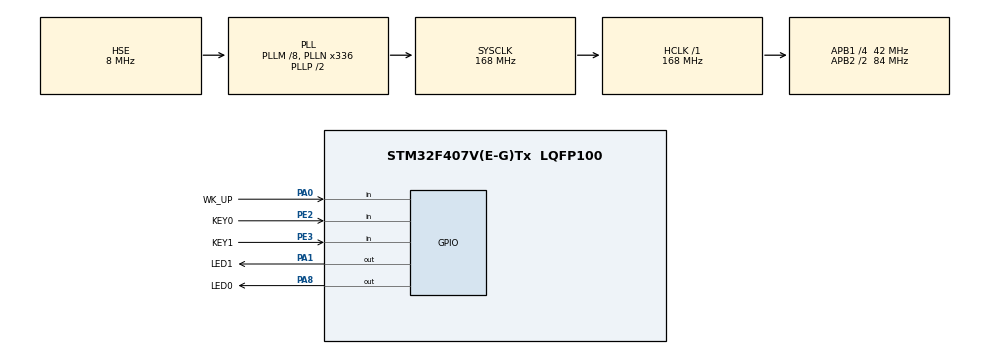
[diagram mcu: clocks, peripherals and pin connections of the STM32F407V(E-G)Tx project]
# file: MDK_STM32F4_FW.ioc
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Mcu.Family=STM32F4
Mcu.Name=STM32F407V(E-G)Tx
Mcu.Package=LQFP100
NVIC.PriorityGroup=NVIC_PRIORITYGROUP_4
PA0-WKUP.GPIO_Label=WK_UP
PA0-WKUP.GPIO_PuPd=GPIO_PULLDOWN
PA0-WKUP.Signal=GPIO_Input
PA1.GPIO_Label=LED1
PA1.Signal=GPIO_Output
PA13.Mode=Serial_Wire
PA13.Signal=SYS_JTMS-SWDIO
PA14.Mode=Serial_Wire
PA14.Signal=SYS_JTCK-SWCLK
PA8.GPIO_Label=LED0
PA8.Signal=GPIO_Output
PC14-OSC32_IN.Mode=LSE-External-Oscillator
PC14-OSC32_IN.Signal=RCC_OSC32_IN
PC15-OSC32_OUT.Mode=LSE-External-Oscillator
PC15-OSC32_OUT.Signal=RCC_OSC32_OUT
PE2.GPIO_Label=KEY0
PE2.GPIO_PuPd=GPIO_PULLUP
PE2.Signal=GPIO_Input
PE3.GPIO_Label=KEY1
PE3.GPIO_PuPd=GPIO_PULLUP
PE3.Signal=GPIO_Input
PH0-OSC_IN.Mode=HSE-External-Oscillator
PH0-OSC_IN.Signal=RCC_OSC_IN
PH1-OSC_OUT.Mode=HSE-External-Oscillator
PH1-OSC_OUT.Signal=RCC_OSC_OUT
ProjectManager.HeapSize=0x200
ProjectManager.StackSize=0x400
ProjectManager.TargetToolchain=MDK-ARM V5.32
RCC.48MHZClocksFreq_Value=84000000
RCC.AHBFreq_Value=168000000
RCC.APB1CLKDivider=RCC_HCLK_DIV4
RCC.APB1Freq_Value=42000000
RCC.APB1TimFreq_Value=84000000
RCC.APB2CLKDivider=RCC_HCLK_DIV2
RCC.APB2Freq_Value=84000000
RCC.APB2TimFreq_Value=168000000
RCC.CortexFreq_Value=168000000
RCC.HCLKFreq_Value=168000000
RCC.HSE_VALUE=8000000
RCC.HSI_VALUE=16000000
RCC.PLLM=8
RCC.PLLN=336
RCC.PLLSourceVirtual=RCC_PLLSOURCE_HSE
RCC.SYSCLKFreq_VALUE=168000000
RCC.SYSCLKSource=RCC_SYSCLKSOURCE_PLLCLK
RCC.VCOOutputFreq_Value=336000000
board=custom

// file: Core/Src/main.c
/* USER CODE BEGIN Header */
/**
  ******************************************************************************
  * @file           : main.c
  * @brief          : Main program body
  ******************************************************************************
  * @attention
  *
  * Copyright (c) 2022 STMicroelectronics.
  * All rights reserved.
  *
  * This software is licensed under terms that can be found in the LICENSE file
  * in the root directory of this software component.
  * If no LICENSE file comes with this software, it is provided AS-IS.
  *
  ******************************************************************************
  */
/* USER CODE END Header */
#include "main.h"
// #include "gpio.h"
/* USER CODE BEGIN Includes */
#include "key.h"

/* USER CODE END Includes */

void SystemClock_Config(void);
static void MX_GPIO_Init(void);

int main(void)
{

  /* MCU Configuration--------------------------------------------------------*/

  /* Reset of all peripherals, Initializes the Flash interface and the Systick. */
  HAL_Init();

  /* Configure the system clock */
  SystemClock_Config();

  /* Initialize all configured peripherals */
  MX_GPIO_Init();

  /* Infinite loop */
  while (1)
  {

    /* USER CODE BEGIN 3 */
		int key;
		key=KEY_Scan(0); //得到键值
		if(key)
		{
			switch(key)
			{
				case WKUP_PRES:
					HAL_GPIO_TogglePin(LED0_GPIO_Port,LED0_Pin);
					HAL_GPIO_TogglePin(LED1_GPIO_Port,LED1_Pin);
					break;
				case KEY0_PRES:
					HAL_GPIO_TogglePin(LED0_GPIO_Port,LED0_Pin);
					break;
				case KEY1_PRES:
					HAL_GPIO_TogglePin(LED1_GPIO_Port,LED1_Pin);
					break;
				default:break;
			}
		}
  }
  /* USER CODE END 3 */
}

void SystemClock_Config(void)
{
  RCC_OscInitTypeDef RCC_OscInitStruct = {0};
  RCC_ClkInitTypeDef RCC_ClkInitStruct = {0};

  /** Configure the main internal regulator output voltage
  */
  __HAL_RCC_PWR_CLK_ENABLE();
  __HAL_PWR_VOLTAGESCALING_CONFIG(PWR_REGULATOR_VOLTAGE_SCALE1);
  /** Initializes the RCC Oscillators according to the specified parameters
  * in the RCC_OscInitTypeDef structure.
  */
  RCC_OscInitStruct.OscillatorType = RCC_OSCILLATORTYPE_HSE;
  RCC_OscInitStruct.HSEState = RCC_HSE_ON;
  RCC_OscInitStruct.PLL.PLLState = RCC_PLL_ON;
  RCC_OscInitStruct.PLL.PLLSource = RCC_PLLSOURCE_HSE;
  RCC_OscInitStruct.PLL.PLLM = 8;
  RCC_OscInitStruct.PLL.PLLN = 336;
  RCC_OscInitStruct.PLL.PLLP = RCC_PLLP_DIV2;
  RCC_OscInitStruct.PLL.PLLQ = 4;
  if (HAL_RCC_OscConfig(&RCC_OscInitStruct) != HAL_OK)
  {
    Error_Handler();
  }
  /** Initializes the CPU, AHB and APB buses clocks
  */
  RCC_ClkInitStruct.ClockType = RCC_CLOCKTYPE_HCLK|RCC_CLOCKTYPE_SYSCLK
                              |RCC_CLOCKTYPE_PCLK1|RCC_CLOCKTYPE_PCLK2;
  RCC_ClkInitStruct.SYSCLKSource = RCC_SYSCLKSOURCE_PLLCLK;
  RCC_ClkInitStruct.AHBCLKDivider = RCC_SYSCLK_DIV1;
  RCC_ClkInitStruct.APB1CLKDivider = RCC_HCLK_DIV4;
  RCC_ClkInitStruct.APB2CLKDivider = RCC_HCLK_DIV2;

  if (HAL_RCC_ClockConfig(&RCC_ClkInitStruct, FLASH_LATENCY_5) != HAL_OK)
  {
    Error_Handler();
  }
}

static void MX_GPIO_Init(void)
{
  GPIO_InitTypeDef GPIO_InitStruct = {0};

  /* GPIO Ports Clock Enable */
  __HAL_RCC_GPIOE_CLK_ENABLE();
  __HAL_RCC_GPIOC_CLK_ENABLE();
  __HAL_RCC_GPIOH_CLK_ENABLE();
  __HAL_RCC_GPIOA_CLK_ENABLE();

  /*Configure GPIO pin Output Level */
  HAL_GPIO_WritePin(GPIOA, GPIO_PIN_1|GPIO_PIN_8, GPIO_PIN_RESET);

  /*Configure GPIO pins : PE2 PE3 */
  GPIO_InitStruct.Pin = GPIO_PIN_2|GPIO_PIN_3;
  GPIO_InitStruct.Mode = GPIO_MODE_INPUT;
  GPIO_InitStruct.Pull = GPIO_PULLUP;
  HAL_GPIO_Init(GPIOE, &GPIO_InitStruct);

  /*Configure GPIO pin : PA0 */
  GPIO_InitStruct.Pin = GPIO_PIN_0;
  GPIO_InitStruct.Mode = GPIO_MODE_INPUT;
  GPIO_InitStruct.Pull = GPIO_PULLDOWN;
  HAL_GPIO_Init(GPIOA, &GPIO_InitStruct);

  /*Configure GPIO pins : PA1 PA8 */
  GPIO_InitStruct.Pin = GPIO_PIN_1|GPIO_PIN_8;
  GPIO_InitStruct.Mode = GPIO_MODE_OUTPUT_PP;
  GPIO_InitStruct.Pull = GPIO_NOPULL;
  GPIO_InitStruct.Speed = GPIO_SPEED_FREQ_LOW;
  HAL_GPIO_Init(GPIOA, &GPIO_InitStruct);

}

void Error_Handler(void)
{
  __disable_irq();
  while (1)
  {
  }
}
